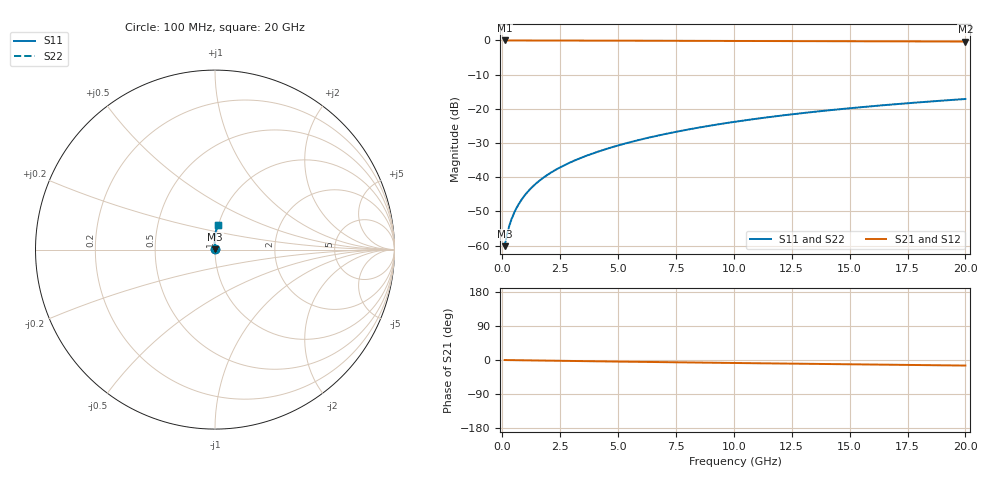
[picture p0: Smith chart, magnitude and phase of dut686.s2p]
! Touchstone file exported from HFSS 2024.1.0
!  File:  C:/UserFiles/LocalFiles/RDL_TSV_Batchsim/temp_RDL_top_686_1779782650.aedt
!  Generated:  04:06:08 PM May 26, 2026
!  Design:  RDL_top
!  Project:  temp_RDL_top_686_1779782650
!  Setup:  Setup1
!  Solution:  Sweep
! Variables:
!  dtsv = 10.80580581um
!  hbump = 3um
!  htsv = 86.38um
!  ldown = 100um
!  lrdl = 200.71um
!  p = 40
!  p1 = 47.76um
!  rhole = 1um
!  t = 450um
!  tdown = 3.915915916um
!  trdl = 4.81um
!  wdown = 15.38538539um
!  wrdl = 25.72um
# GHz S MA R 50.000000
! Terminal data exported
! Port[1] = Box2_T1
! Port[2] = Box2_T2
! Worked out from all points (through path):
!   200 points, 100 MHz to 20 GHz, reference 50 ohm
!   highest |S21| = -0.01 dB at 100 MHz (marker M1); lowest = -0.3 dB at 20 GHz (marker M2)
!   group delay of S21, straight-line fit = 2.01 ps
!   lowest |S11| = -60.2 dB at 100 MHz (marker M3), VSWR 1.00, Z = 50.1 + j0.0626 ohm
!   |S11| at or under -10 dB: start of sweep to end of sweep
!   |S22| runs from -60.2 to -17.1 dB; largest |S21 - S12| = 2.1e-15
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0.1  0.000979 39.7  0.9992 -0.1  0.9992 -0.1  0.000979 39.7
! Gamma 0 0 0 0
! Port Impedance 50 0 50 0
0.2  0.001444 56.0  0.9992 -0.2  0.9992 -0.2  0.001444 56.0
0.3  0.001933 64.1  0.9991 -0.3  0.9991 -0.3  0.001933 64.1
0.4  0.002433 69.3  0.999 -0.4  0.999 -0.4  0.002433 69.3
0.5  0.002944 72.9  0.999 -0.4  0.999 -0.4  0.002944 72.9
0.6  0.003463 75.6  0.9989 -0.5  0.9989 -0.5  0.003463 75.6
0.8  0.004519 79.3  0.9988 -0.7  0.9988 -0.7  0.004519 79.3
1.1  0.006132 82.6  0.9986 -1.0  0.9986 -1.0  0.006132 82.6
1.5  0.008317 85.3  0.9983 -1.3  0.9983 -1.3  0.008317 85.3
1.8  0.009978 86.6  0.998 -1.6  0.998 -1.6  0.009978 86.6
2.1  0.01166 87.7  0.9976 -1.8  0.9976 -1.8  0.01166 87.7
2.7  0.01507 89.3  0.9967 -2.3  0.9967 -2.3  0.01507 89.3
3.5  0.01977 90.7  0.9954 -3.0  0.9954 -3.0  0.01977 90.7
4.2  0.02403 91.6  0.994 -3.6  0.994 -3.6  0.02403 91.6
5  0.02909 92.3  0.9923 -4.2  0.9923 -4.2  0.02909 92.3
6.8  0.04115 92.8  0.9884 -5.6  0.9884 -5.6  0.04115 92.8
8.4  0.05251 92.4  0.9849 -6.7  0.9849 -6.7  0.05251 92.4
10.1  0.06501 91.4  0.9813 -8.0  0.9813 -8.0  0.06501 91.4
11.7  0.07699 90.2  0.9781 -9.1  0.9781 -9.1  0.077 90.2
13.4  0.08982 88.8  0.9748 -10.2  0.9748 -10.2  0.08983 88.8
16.7  0.1147 85.8  0.9689 -12.5  0.9689 -12.5  0.1147 85.8
20  0.1391 82.9  0.9632 -14.7  0.9632 -14.7  0.1391 82.9
